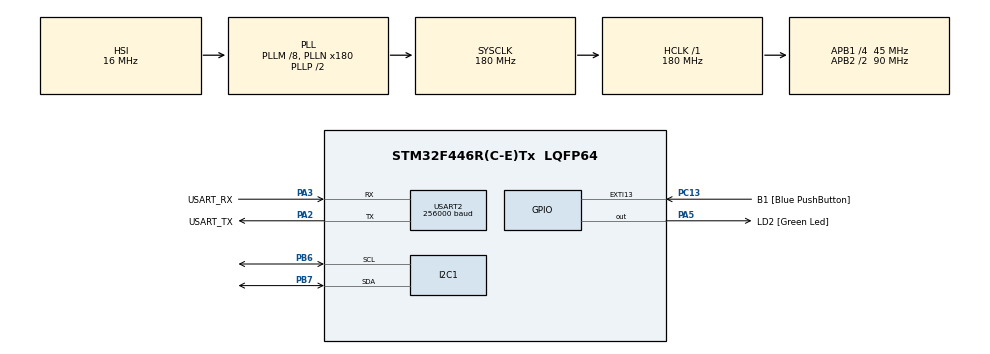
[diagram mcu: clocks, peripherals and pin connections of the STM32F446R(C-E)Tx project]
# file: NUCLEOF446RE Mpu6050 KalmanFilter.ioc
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Mcu.Family=STM32F4
Mcu.Name=STM32F446R(C-E)Tx
Mcu.Package=LQFP64
NVIC.PriorityGroup=NVIC_PRIORITYGROUP_0
PA13.GPIO_Label=TMS
PA13.Signal=SYS_JTMS-SWDIO
PA14.GPIO_Label=TCK
PA14.Signal=SYS_JTCK-SWCLK
PA2.GPIO_Label=USART_TX
PA2.Mode=Asynchronous
PA2.Signal=USART2_TX
PA3.GPIO_Label=USART_RX
PA3.Mode=Asynchronous
PA3.Signal=USART2_RX
PA5.GPIO_Label=LD2 [Green Led]
PA5.Signal=GPIO_Output
PB3.GPIO_Label=SWO
PB3.Signal=SYS_JTDO-SWO
PB6.Mode=I2C
PB6.Signal=I2C1_SCL
PB7.Mode=I2C
PB7.Signal=I2C1_SDA
PC13.GPIO_Label=B1 [Blue PushButton]
PC13.GPIO_ModeDefaultEXTI=GPIO_MODE_IT_FALLING
PC13.Signal=GPXTI13
PC14-OSC32_IN.Mode=LSE-External-Oscillator
PC14-OSC32_IN.Signal=RCC_OSC32_IN
PC15-OSC32_OUT.Mode=LSE-External-Oscillator
PC15-OSC32_OUT.Signal=RCC_OSC32_OUT
PH0-OSC_IN.Mode=HSE-External-Oscillator
PH0-OSC_IN.Signal=RCC_OSC_IN
PH1-OSC_OUT.Mode=HSE-External-Oscillator
PH1-OSC_OUT.Signal=RCC_OSC_OUT
ProjectManager.HeapSize=0x200
ProjectManager.StackSize=0x400
ProjectManager.TargetToolchain=STM32CubeIDE
RCC.48MHZClocksFreq_Value=84000000
RCC.AHBFreq_Value=180000000
RCC.APB1CLKDivider=RCC_HCLK_DIV4
RCC.APB1Freq_Value=45000000
RCC.APB1TimFreq_Value=90000000
RCC.APB2CLKDivider=RCC_HCLK_DIV2
RCC.APB2Freq_Value=90000000
RCC.APB2TimFreq_Value=180000000
RCC.CortexFreq_Value=180000000
RCC.FLatency-AdvancedSettings=FLASH_LATENCY_5
RCC.HCLKFreq_Value=180000000
RCC.HSE_VALUE=8000000
RCC.HSI_VALUE=16000000
RCC.PLLM=8
RCC.PLLN=180
RCC.SYSCLKFreq_VALUE=180000000
RCC.SYSCLKSource=RCC_SYSCLKSOURCE_PLLCLK
RCC.USBFreq_Value=180000000
RCC.VCOOutputFreq_Value=360000000
USART2.BaudRate=256000
USART2.VirtualMode=VM_ASYNC
board=NUCLEO-F446RE

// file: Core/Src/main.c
/* USER CODE BEGIN Header */
/**
  ******************************************************************************
  * @file           : main.c
  * @brief          : Main program body
  ******************************************************************************
  * @attention
  *
  * Copyright (c) 2023 STMicroelectronics.
  * All rights reserved.
  *
  * This software is licensed under terms that can be found in the LICENSE file
  * in the root directory of this software component.
  * If no LICENSE file comes with this software, it is provided AS-IS.
  *
  ******************************************************************************
  */
/* USER CODE END Header */
#include "main.h"
#include "i2c.h"
#include "usart.h"
#include "gpio.h"

/* USER CODE BEGIN Includes */
#include "mpu6050.h"
#include "stdio.h"
#include "string.h"
#include "stdlib.h"
#include "math.h"
#include "stdbool.h"
#include "MPU9250.h"

/* USER CODE END Includes */

/* USER CODE BEGIN PV */

MPU6050_t MPU6050;
MPU9250_t mpu9250;
uint8_t serialBuf[100];

/* USER CODE END PV */

void SystemClock_Config(void);
/* USER CODE BEGIN PFP */
#ifdef __GNUC__
#define PUTCHAR_PROTOTYPE int __io_putchar(int ch)
#else
#define PUTCHAR_PROTOTYPE int fputc(int ch, FILE *f)
#endif

PUTCHAR_PROTOTYPE
{
HAL_UART_Transmit(&huart2, (uint8_t *)&ch, 1, HAL_MAX_DELAY);
return ch;
}
/* USER CODE END PFP */

/* USER CODE BEGIN 0 */

float AngX , AngY,AccX,AccY,AccZ;
double AngXAvg = -2.16464;
double AngYAvg = -2.80434;
double AccZAvg = -9.1;

uint8_t isDeviceConnected = 0;

/* USER CODE END 0 */

int main(void)
{

  /* MCU Configuration--------------------------------------------------------*/

  /* Reset of all peripherals, Initializes the Flash interface and the Systick. */
  HAL_Init();

  /* Configure the system clock */
  SystemClock_Config();

  /* Initialize all configured peripherals */
  MX_GPIO_Init();
  MX_I2C1_Init();
  MX_USART2_UART_Init();
  /* USER CODE BEGIN 2 */
  MPU6050_Init(&hi2c1);

  /* USER CODE END 2 */
  /* Infinite loop */
  while (1)
   {
	  HAL_GPIO_TogglePin(LD2_GPIO_Port, LD2_Pin);
	  HAL_GPIO_TogglePin(GPIOC,GPIO_PIN_7);

	  MPU6050_Read_All(&hi2c1, &MPU6050);
	  AngX = MPU6050.KalmanAngleX;
	  AngY = MPU6050.KalmanAngleY;
	  AccX = MPU6050.Ax;
	  AccY = MPU6050.Ay;
	  AccZ = MPU6050.Az;
	  /*printf("%.4f%.4f%.4f\n\n",AccX,AccY,AccZ); */
	  printf("%.4f%.4f%.4f\n", ( AngX + AngXAvg + 90 ) / 100 , ( AngY + AngYAvg + 90 ) / 100 , ( (AccZ + AccZAvg) + 90 ) / 100);

	  HAL_Delay(25);
  }
}

void SystemClock_Config(void)
{
  RCC_OscInitTypeDef RCC_OscInitStruct = {0};
  RCC_ClkInitTypeDef RCC_ClkInitStruct = {0};

  /** Configure the main internal regulator output voltage
  */
  __HAL_RCC_PWR_CLK_ENABLE();
  __HAL_PWR_VOLTAGESCALING_CONFIG(PWR_REGULATOR_VOLTAGE_SCALE1);

  /** Initializes the RCC Oscillators according to the specified parameters
  * in the RCC_OscInitTypeDef structure.
  */
  RCC_OscInitStruct.OscillatorType = RCC_OSCILLATORTYPE_HSI;
  RCC_OscInitStruct.HSIState = RCC_HSI_ON;
  RCC_OscInitStruct.HSICalibrationValue = RCC_HSICALIBRATION_DEFAULT;
  RCC_OscInitStruct.PLL.PLLState = RCC_PLL_ON;
  RCC_OscInitStruct.PLL.PLLSource = RCC_PLLSOURCE_HSI;
  RCC_OscInitStruct.PLL.PLLM = 8;
  RCC_OscInitStruct.PLL.PLLN = 180;
  RCC_OscInitStruct.PLL.PLLP = RCC_PLLP_DIV2;
  RCC_OscInitStruct.PLL.PLLQ = 2;
  RCC_OscInitStruct.PLL.PLLR = 2;
  if (HAL_RCC_OscConfig(&RCC_OscInitStruct) != HAL_OK)
  {
    Error_Handler();
  }

  /** Activate the Over-Drive mode
  */
  if (HAL_PWREx_EnableOverDrive() != HAL_OK)
  {
    Error_Handler();
  }

  /** Initializes the CPU, AHB and APB buses clocks
  */
  RCC_ClkInitStruct.ClockType = RCC_CLOCKTYPE_HCLK|RCC_CLOCKTYPE_SYSCLK
                              |RCC_CLOCKTYPE_PCLK1|RCC_CLOCKTYPE_PCLK2;
  RCC_ClkInitStruct.SYSCLKSource = RCC_SYSCLKSOURCE_PLLCLK;
  RCC_ClkInitStruct.AHBCLKDivider = RCC_SYSCLK_DIV1;
  RCC_ClkInitStruct.APB1CLKDivider = RCC_HCLK_DIV4;
  RCC_ClkInitStruct.APB2CLKDivider = RCC_HCLK_DIV2;

  if (HAL_RCC_ClockConfig(&RCC_ClkInitStruct, FLASH_LATENCY_5) != HAL_OK)
  {
    Error_Handler();
  }
}

void Error_Handler(void)
{
  __disable_irq();
  while (1)
  {
  }
}
